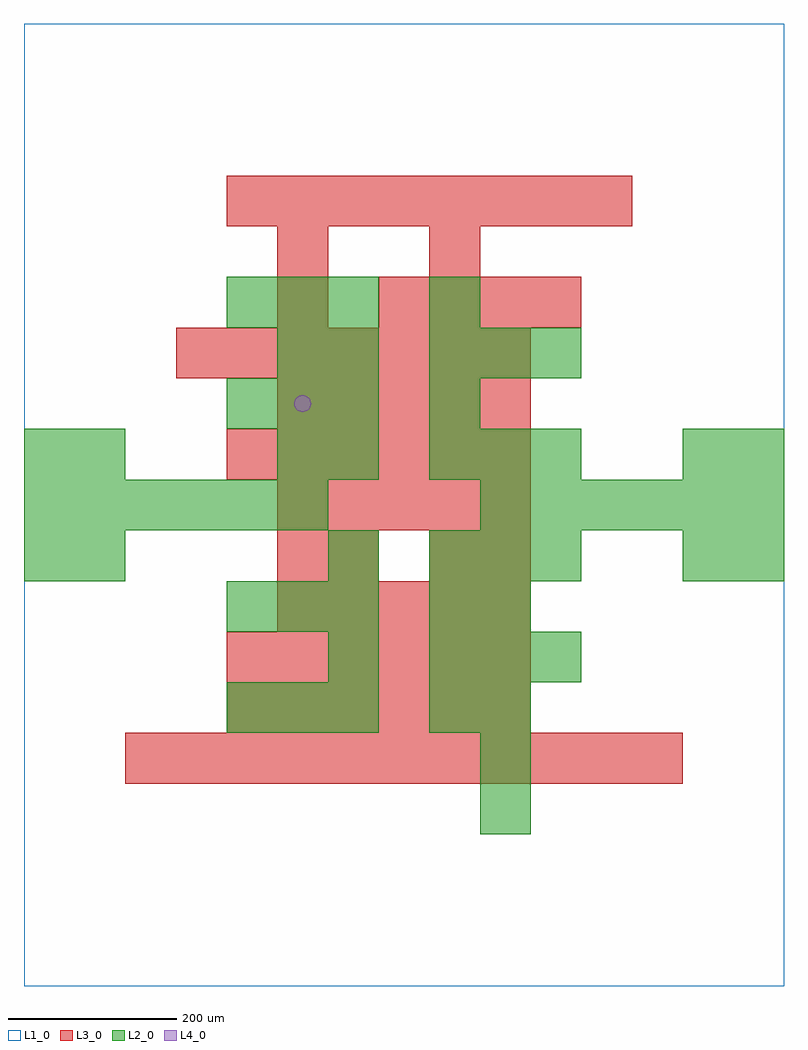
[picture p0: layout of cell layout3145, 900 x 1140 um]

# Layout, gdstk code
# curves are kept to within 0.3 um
import gdstk
lib = gdstk.Library(unit=1e-6, precision=1e-09)
def R(c, l, rs):  # rectangles x0, y0, x1, y1
    for r in rs: c.add(gdstk.rectangle(r[:2], r[2:], *l))
def A(c, l, x, y, w, h, nx, ny, dx, dy):  # array of equal rectangles
    R(c, l, [(x+i*dx, y+j*dy, x+i*dx+w, y+j*dy+h) for i in range(nx) for j in range(ny)])
def P(c, l, *ps):  # polygons
    for p in ps: c.add(gdstk.Polygon(p, *l))
L1_0 = (1, 0)
L2_0 = (2, 0)
L3_0 = (3, 0)
L4_0 = (4, 0)

layout3145 = lib.new_cell('layout3145')
R(layout3145, L1_0, [(0,0,900,1140)])
A(layout3145, L2_0, 540, 180, 60, 60, 1, 3, 0, 60)
A(layout3145, L2_0, 240, 300, 60, 60, 3, 2, 60, 120)
A(layout3145, L2_0, 360, 360, 60, 60, 1, 4, 0, 120)
A(layout3145, L2_0, 480, 360, 60, 60, 3, 4, 60, 120)
A(layout3145, L2_0, 0, 540, 60, 60, 6, 1, 60, 0)
A(layout3145, L2_0, 540, 540, 60, 60, 6, 1, 60, 0)
A(layout3145, L2_0, 240, 660, 60, 60, 3, 2, 60, 120)
R(layout3145, L2_0, [(480,300,540,360), (480,420,540,480), (540,420,600,480), (0,480,60,540), (60,480,120,540), (780,480,840,540), (840,480,900,540), (0,600,60,660), (60,600,120,660), (300,600,360,660), (780,600,840,660), (840,600,900,660), (480,660,540,720), (300,720,360,780), (480,780,540,840)])
A(layout3145, L3_0, 120, 240, 60, 60, 11, 1, 60, 0)
A(layout3145, L3_0, 240, 300, 60, 60, 6, 2, 60, 60)
A(layout3145, L3_0, 300, 420, 60, 60, 5, 3, 60, 120)
A(layout3145, L3_0, 240, 600, 60, 60, 6, 1, 60, 0)
A(layout3145, L3_0, 180, 720, 60, 60, 7, 1, 60, 0)
A(layout3145, L3_0, 420, 780, 60, 60, 4, 1, 60, 0)
A(layout3145, L3_0, 240, 900, 60, 60, 8, 1, 60, 0)
R(layout3145, L3_0, [(300,480,360,540), (360,480,420,540), (480,480,540,540), (540,480,600,540), (300,780,360,840), (300,840,360,900), (480,840,540,900)])
P(layout3145, L4_0, [(340,690),(339.239,693.827),(337.071,697.071),(333.827,699.239),(330,700),(326.173,699.239),(322.929,697.071),(320.761,693.827),(320,690),(320.761,686.173),(322.929,682.929),(326.173,680.761),(330,680),(333.827,680.761),(337.071,682.929),(339.239,686.173)])

lib.write_gds('layout3145.gds')
